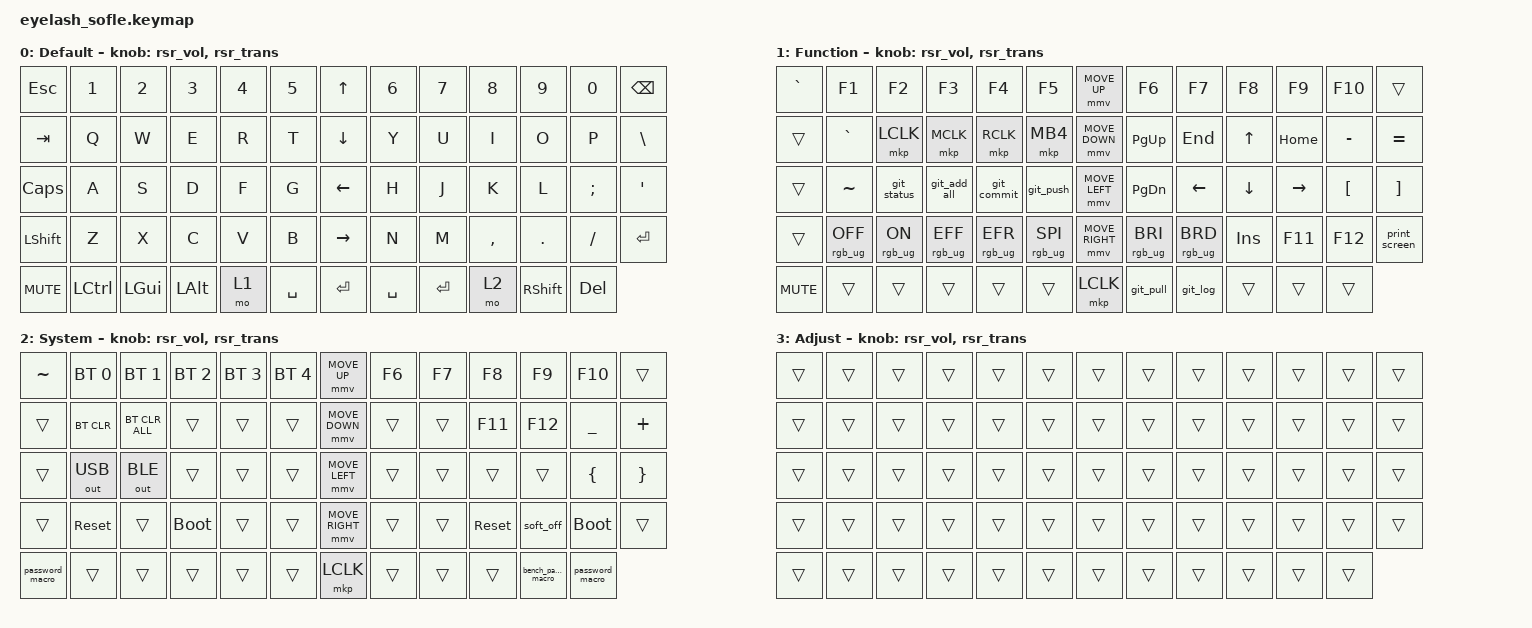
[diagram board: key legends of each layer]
#define ZMK_POINTING_DEFAULT_MOVE_VAL 1200  // 600
#define ZMK_POINTING_DEFAULT_SCRL_VAL 25   // 10

#include <input/processors.dtsi>
#include <zephyr/dt-bindings/input/input-event-codes.h>
#include <behaviors.dtsi>
#include <behaviors/runtime-sensor-rotate.dtsi>
#include <dt-bindings/zmk/bt.h>
#include <dt-bindings/zmk/keys.h>
#include <dt-bindings/zmk/outputs.h>
#include <dt-bindings/zmk/pointing.h>
#include <dt-bindings/zmk/rgb.h>

&mmv_input_listener { input-processors = <&zip_xy_scaler 2 1>; };

&msc_input_listener { input-processors = <&zip_scroll_scaler 2 1>; };

&msc {
    acceleration-exponent = <1>;
    time-to-max-speed-ms = <100>;
    delay-ms = <0>;
};

&mmv {
    time-to-max-speed-ms = <500>;
    acceleration-exponent = <1>;
    trigger-period-ms = <16>;
};

&soft_off { hold-time-ms = <2000>; };

/ {
    scroll_encoder: scroll_encoder {
        compatible = "zmk,behavior-sensor-rotate";
        #sensor-binding-cells = <0>;
        bindings = <&msc SCRL_DOWN>, <&msc SCRL_UP>;
        tap-ms = <100>;
    };

    behaviors {
        rsr_vol: rsr_vol {
            compatible = "zmk,behavior-runtime-sensor-rotate";
            #sensor-binding-cells = <0>;
            tap-ms = <5>;
            cw-binding = <&kp C_VOL_UP>;
            ccw-binding = <&kp C_VOL_DN>;
        };

        rsr_trans: rsr_trans {
            compatible = "zmk,behavior-runtime-sensor-rotate";
            #sensor-binding-cells = <0>;
            tap-ms = <0>;
        };
    };

    combos {
        compatible = "zmk,combos";

        softoff {
            bindings = <&soft_off>;
            key-positions = <14 28 40>;
        };
    };

    macros {
        SHIFT_MCLK: SHIFT_MCLK {
            compatible = "zmk,behavior-macro";
            #binding-cells = <0>;
            bindings =
                <&macro_press>,
                <&kp LEFT_SHIFT>,
                <&macro_press>,
                <&mkp MB3>,
                <&macro_pause_for_release>,
                <&macro_release>,
                <&kp LEFT_SHIFT &mkp MB3>;
            label = "SHIFT_MCLK";
        };

        password_macro: password_macro {
            compatible = "zmk,behavior-macro";
            #binding-cells = <0>;
            wait-ms = <40>;
            tap-ms = <40>;
            bindings
                = <&kp LS(P) &kp LS(O) &kp LS(N) &kp LS(G) &kp LS(P) &kp LS(O) &kp LS(N) &kp LS(G)>
                , <&kp P &kp O &kp N &kp G &kp P &kp O &kp N &kp G>
                , <&kp N1 &kp N3 &kp N5>;
        };

        bench_password_macro: bench_password_macro {
            compatible = "zmk,behavior-macro";
            #binding-cells = <0>;
            wait-ms = <40>;
            tap-ms = <40>;
            bindings
                = <&kp LS(Z) &kp LS(A) &kp LS(Q) &kp LS(Z) &kp LS(A) &kp LS(Q)>
                , <&kp Z &kp A &kp Q &kp Z &kp A &kp Q>
                , <&kp N1 &kp N3 &kp N5>;
        };

        git_status: git_status {
            compatible = "zmk,behavior-macro";
            #binding-cells = <0>;
            wait-ms = <40>;
            tap-ms = <40>;
            bindings = <&kp G &kp I &kp T &kp SPACE &kp S &kp T &kp A &kp T &kp U &kp S &kp RET>;
        };

        git_add_all: git_add_all {
            compatible = "zmk,behavior-macro";
            #binding-cells = <0>;
            wait-ms = <40>;
            tap-ms = <40>;
            bindings = <&kp G &kp I &kp T &kp SPACE &kp A &kp D &kp D &kp SPACE &kp DOT &kp RET>;
        };

        git_commit: git_commit {
            compatible = "zmk,behavior-macro";
            #binding-cells = <0>;
            wait-ms = <40>;
            tap-ms = <40>;
            bindings = <&kp G &kp I &kp T &kp SPACE &kp C &kp O &kp M &kp M &kp I &kp T &kp SPACE &kp MINUS &kp M &kp SPACE &kp DQT>;
        };

        git_push: git_push {
            compatible = "zmk,behavior-macro";
            #binding-cells = <0>;
            wait-ms = <40>;
            tap-ms = <40>;
            bindings = <&kp G &kp I &kp T &kp SPACE &kp P &kp U &kp S &kp H &kp RET>;
        };

        git_pull: git_pull {
            compatible = "zmk,behavior-macro";
            #binding-cells = <0>;
            wait-ms = <40>;
            tap-ms = <40>;
            bindings = <&kp G &kp I &kp T &kp SPACE &kp P &kp U &kp L &kp L &kp RET>;
        };

        git_log: git_log {
            compatible = "zmk,behavior-macro";
            #binding-cells = <0>;
            wait-ms = <40>;
            tap-ms = <40>;
            bindings = <&kp G &kp I &kp T &kp SPACE &kp L &kp O &kp G &kp RET>;
        };

        print_screen: print_screen {
            compatible = "zmk,behavior-macro";
            #binding-cells = <0>;
            wait-ms = <40>;
            tap-ms = <40>;
            bindings = <&kp PSCRN>;
        };
    };

    keymap {
        compatible = "zmk,keymap";

        default_layer {
            bindings = <
&kp ESC     &kp N1     &kp N2        &kp N3        &kp N4  &kp N5       &kp UP_ARROW     &kp N6     &kp N7     &kp N8     &kp N9           &kp N0      &kp BACKSPACE
&kp TAB     &kp Q      &kp W         &kp E         &kp R   &kp T        &kp DOWN_ARROW   &kp Y      &kp U      &kp I      &kp O            &kp P       &kp BSLH
&kp CAPS    &kp A      &kp S         &kp D         &kp F   &kp G        &kp LEFT_ARROW   &kp H      &kp J      &kp K      &kp L            &kp SEMI    &kp APOS
&kp LSHFT   &kp Z      &kp X         &kp C         &kp V   &kp B        &kp RIGHT_ARROW  &kp N      &kp M      &kp COMMA  &kp DOT          &kp FSLH    &kp ENTER
&kp C_MUTE  &kp LCTRL  &kp LEFT_GUI  &kp LEFT_ALT  &mo 1   &kp SPACE    &kp ENTER        &kp SPACE  &kp ENTER  &mo 2      &kp RIGHT_SHIFT  &kp DELETE
            >;
            sensor-bindings = <&rsr_vol &rsr_trans>;
            display-name = "Default";
        };

        function_layer {
            bindings = <
&kp GRAVE   &kp F1           &kp F2          &kp F3           &kp F4           &kp F5             &mmv MOVE_UP     &kp F6           &kp F7           &kp F8      &kp F9     &kp F10           &trans
&trans      &kp GRAVE        &mkp LCLK       &mkp MCLK        &mkp RCLK        &mkp MB4           &mmv MOVE_DOWN   &kp PG_UP        &kp END          &kp UP      &kp HOME   &kp MINUS         &kp EQUAL
&trans      &kp TILDE        &git_status     &git_add_all     &git_commit      &git_push           &mmv MOVE_LEFT   &kp PG_DN        &kp LEFT         &kp DOWN    &kp RIGHT  &kp LEFT_BRACKET  &kp RIGHT_BRACKET
&trans      &rgb_ug RGB_OFF  &rgb_ug RGB_ON  &rgb_ug RGB_EFF  &rgb_ug RGB_EFR  &rgb_ug RGB_SPI    &mmv MOVE_RIGHT  &rgb_ug RGB_BRI  &rgb_ug RGB_BRD  &kp INSERT  &kp F11    &kp F12           &print_screen
&kp C_MUTE  &trans           &trans          &trans           &trans           &trans             &mkp LCLK        &git_pull        &git_log         &trans      &trans     &trans
            >;
            sensor-bindings = <&rsr_vol &rsr_trans>;
            display-name = "Function";
        };

        system_layer {
            bindings = <
&kp TILDE        &bt BT_SEL 0  &bt BT_SEL 1    &bt BT_SEL 2  &bt BT_SEL 3  &bt BT_SEL 4    &mmv MOVE_UP     &kp F6  &kp F7  &kp F8      &kp F9              &kp F10            &trans
&trans           &bt BT_CLR    &bt BT_CLR_ALL  &trans        &trans        &trans          &mmv MOVE_DOWN   &trans  &trans  &kp F11     &kp F12             &kp UNDER          &kp PLUS
&trans           &out OUT_USB  &out OUT_BLE    &trans        &trans        &trans          &mmv MOVE_LEFT   &trans  &trans  &trans      &trans              &kp LBRC           &kp RBRC
&trans           &sys_reset    &trans          &bootloader   &trans        &trans          &mmv MOVE_RIGHT  &trans  &trans  &sys_reset  &soft_off           &bootloader        &trans
&password_macro  &trans        &trans          &trans        &trans        &trans          &mkp LCLK        &trans  &trans  &trans      &bench_password_macro &password_macro
            >;
            sensor-bindings = <&rsr_vol &rsr_trans>;
            display-name = "System";
        };

        adjust_layer {
            bindings = <
&trans  &trans  &trans  &trans  &trans  &trans    &trans  &trans  &trans  &trans  &trans  &trans  &trans
&trans  &trans  &trans  &trans  &trans  &trans    &trans  &trans  &trans  &trans  &trans  &trans  &trans
&trans  &trans  &trans  &trans  &trans  &trans    &trans  &trans  &trans  &trans  &trans  &trans  &trans
&trans  &trans  &trans  &trans  &trans  &trans    &trans  &trans  &trans  &trans  &trans  &trans  &trans
&trans  &trans  &trans  &trans  &trans  &trans    &trans  &trans  &trans  &trans  &trans  &trans
            >;
            sensor-bindings = <&rsr_vol &rsr_trans>;
            display-name = "Adjust";
        };
    };
};
